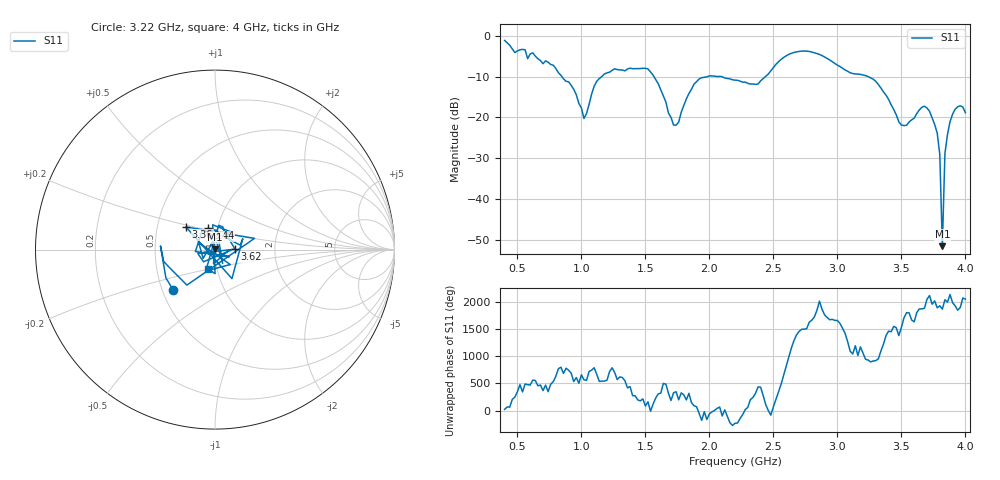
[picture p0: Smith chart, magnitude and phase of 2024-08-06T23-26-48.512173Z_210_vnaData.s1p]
!Created with skrf (http://scikit-rf.org).
# Hz S RI R 50.0
!freq ReS11 ImS11
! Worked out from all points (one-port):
!   181 points, 400 MHz to 4 GHz, reference 50 ohm
!   lowest |S11| = -51.4 dB at 3.82 GHz (marker M1), VSWR 1.01, Z = 50.1 + j0.243 ohm
!   |S11| at or under -10 dB: 1.566 GHz to 1.988 GHz (421.1 MHz wide, 23.7 % of centre); 2.089 GHz to 2.44 GHz (351.3 MHz wide, 15.5 % of centre); 3.239 GHz to end of sweep (the widest 3 of 5)
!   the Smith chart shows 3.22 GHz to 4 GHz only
!   S11 on the Smith chart (normalised r, x): 3.22 GHz: 0.57, -0.29; 3.36 GHz: 0.70, +0.18; 3.44 GHz: 0.90, +0.22; 3.62 GHz: 1.25, +0.01; 4 GHz: 0.90, -0.20
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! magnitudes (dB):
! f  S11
! 400 MHz  -1.2
! 860 MHz  -10.6
! 940 MHz  -13.1
! 1.02 GHz  -20.3
! 1.12 GHz  -11.2
! 1.3 GHz  -8.4
! 1.52 GHz  -8.2
! 1.72 GHz  -21.9
! 1.76 GHz  -21.1
! 1.92 GHz  -10.6
! 2.2 GHz  -10.9
! 2.38 GHz  -11.8
! 2.66 GHz  -4.1
! 3.1 GHz  -9.1
! 3.22 GHz  -9.8
! 3.36 GHz  -13.8
! 3.44 GHz  -18.0
! 3.5 GHz  -21.9
! 3.56 GHz  -21.1
! 3.62 GHz  -19.1
! 3.7 GHz  -17.7
! 3.78 GHz  -23.8
! 3.8 GHz  -29.0
! 3.82 GHz  -51.4
! 3.84 GHz  -28.9
! 3.86 GHz  -24.2
! 3.92 GHz  -18.0
! 4 GHz  -18.8
